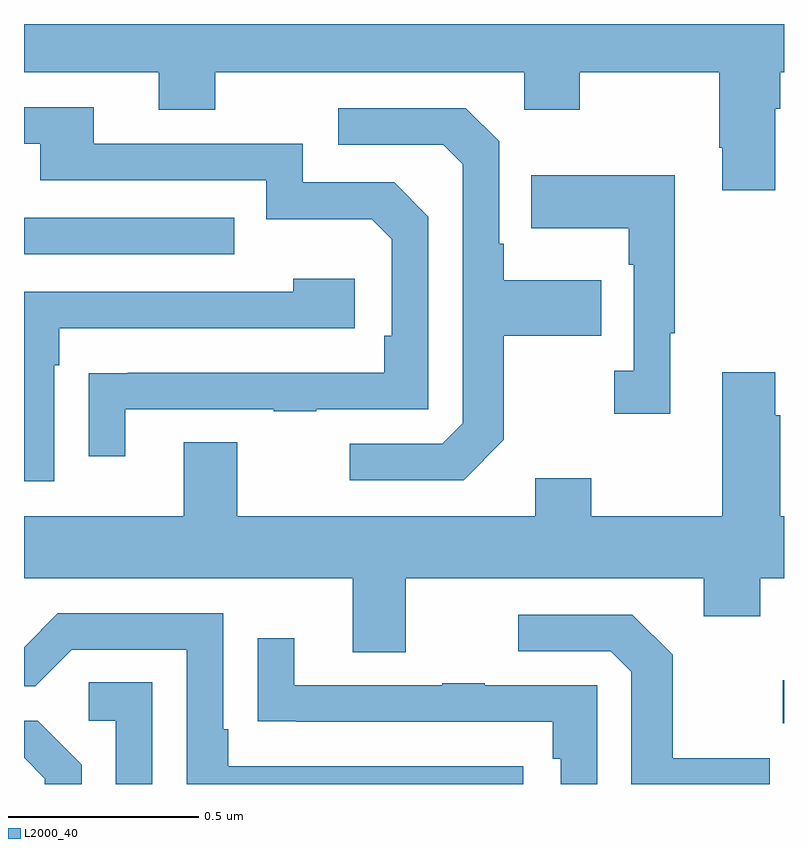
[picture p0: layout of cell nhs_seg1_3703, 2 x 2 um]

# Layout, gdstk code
import gdstk
lib = gdstk.Library(unit=1e-6, precision=1e-09)
def R(c, l, rs):  # rectangles x0, y0, x1, y1
    for r in rs: c.add(gdstk.rectangle(r[:2], r[2:], *l))
def P(c, l, *ps):  # polygons
    for p in ps: c.add(gdstk.Polygon(p, *l))
L2000_40 = (2000, 40)

nhs_seg1_3703 = lib.new_cell('nhs_seg1_3703')
R(nhs_seg1_3703, L2000_40, [(158.997,543.359,159,543.472), (157,544.593,157.553,544.689)])
P(nhs_seg1_3703, L2000_40, [(158.977,544.976),(158.99,544.976),(158.99,545.072),(159,545.072),(159,545.199),(157,545.199),(157,545.072),(157.355,545.072),(157.355,544.973),(157.503,544.973),(157.503,545.072),(158.316,545.072),(158.316,544.973),(158.463,544.973),(158.463,545.072),(158.83,545.072),(158.83,544.873),(158.837,544.873),(158.837,544.761),(158.977,544.761)],
  [(157.267,544.185),(157.657,544.185),(157.657,544.18),(157.769,544.18),(157.769,544.185),(158.064,544.185),(158.064,544.692),(157.974,544.782),(157.734,544.782),(157.734,544.884),(157.183,544.884),(157.183,544.98),(157,544.98),(157,544.884),(157.043,544.884),(157.043,544.788),(157.638,544.788),(157.638,544.685),(157.915,544.685),(157.968,544.632),(157.968,544.378),(157.948,544.378),(157.948,544.281),(157.273,544.281),(157.273,544.28),(157.171,544.28),(157.171,544.062),(157.267,544.062)],
  [(158.263,544.105),(158.263,544.378),(158.519,544.378),(158.519,544.525),(158.263,544.525),(158.263,544.621),(158.25,544.621),(158.25,544.89),(158.163,544.977),(157.827,544.977),(157.827,544.881),(158.103,544.881),(158.154,544.83),(158.154,544.149),(158.1,544.095),(157.857,544.095),(157.857,543.999),(158.157,543.999)],
  [(158.701,544.385),(158.713,544.385),(158.713,544.801),(158.335,544.801),(158.335,544.661),(158.592,544.661),(158.592,544.565),(158.604,544.565),(158.604,544.286),(158.553,544.286),(158.553,544.173),(158.701,544.173)],
  [(157.08,544.301),(157.093,544.301),(157.093,544.398),(157.87,544.398),(157.87,544.528),(157.709,544.528),(157.709,544.494),(157,544.494),(157,543.996),(157.08,543.996)],
  [(158.005,543.74),(158.789,543.74),(158.789,543.641),(158.937,543.641),(158.937,543.74),(159,543.74),(159,543.904),(158.99,543.904),(158.99,544.169),(158.977,544.169),(158.977,544.282),(158.837,544.282),(158.837,543.904),(158.493,543.904),(158.493,544.003),(158.345,544.003),(158.345,543.904),(157.561,543.904),(157.561,544.099),(157.421,544.099),(157.421,543.904),(157,543.904),(157,543.74),(157.865,543.74),(157.865,543.546),(158.005,543.546)],
  [(158.314,543.246),(157.537,543.246),(157.537,543.343),(157.524,543.343),(157.524,543.648),(157.089,543.648),(157,543.559),(157,543.456),(157.029,543.456),(157.125,543.552),(157.428,543.552),(157.428,543.199),(158.314,543.199)],
  [(158.963,543.267),(158.707,543.267),(158.707,543.539),(158.601,543.645),(158.301,543.645),(158.301,543.549),(158.544,543.549),(158.598,543.495),(158.598,543.199),(158.963,543.199)],
  [(158.508,543.459),(158.213,543.459),(158.213,543.464),(158.101,543.464),(158.101,543.459),(157.711,543.459),(157.711,543.583),(157.615,543.583),(157.615,543.364),(157.717,543.364),(157.717,543.363),(158.392,543.363),(158.392,543.266),(158.412,543.266),(158.412,543.199),(158.508,543.199)],
  [(157.338,543.467),(157.17,543.467),(157.17,543.366),(157.242,543.366),(157.242,543.199),(157.338,543.199)],
  [(157.152,543.25),(157.036,543.366),(157,543.366),(157,543.268),(157.055,543.213),(157.055,543.199),(157.152,543.199)])

lib.write_gds('nhs_seg1_3703.gds')
